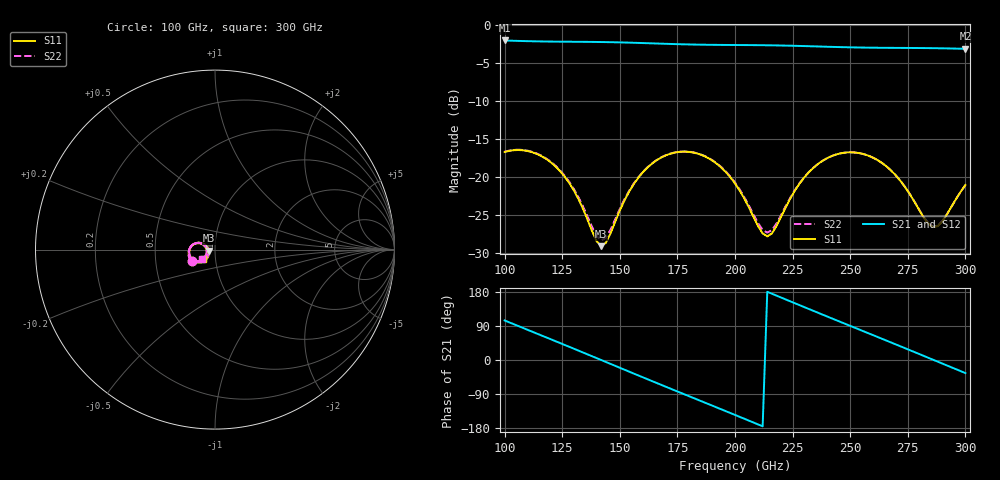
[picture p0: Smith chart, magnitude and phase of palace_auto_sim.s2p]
#  GHZ S DB R 50
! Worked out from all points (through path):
!   101 points, 100 GHz to 300 GHz, reference 50 ohm
!   highest |S21| = -2.01 dB at 100 GHz (marker M1); lowest = -3.1 dB at 300 GHz (marker M2)
!   group delay of S21, straight-line fit = 6.93 ps
!   lowest |S11| = -29.2 dB at 142 GHz (marker M3), VSWR 1.07, Z = 46.7 - j0.532 ohm
!   |S11| at or under -10 dB: start of sweep to end of sweep
!   |S22| runs from -28.4 to -16.4 dB; largest |S21 - S12| = 8.9e-14
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100  -16.73 -153.8  -2.01 104.4  -2.01 104.4  -16.70 -153.3
108  -16.50 -170.2  -2.08 84.6  -2.08 84.6  -16.46 -169.5
116  -17.28 174.1  -2.14 64.8  -2.14 64.8  -17.22 175.0
126  -19.95 157.6  -2.17 39.9  -2.17 39.9  -19.83 158.9
134  -24.21 153.7  -2.19 19.9  -2.19 19.9  -23.91 155.7
142  -29.16 -170.6  -2.22 -0.3  -2.22 -0.3  -28.39 -171.3
154  -21.99 -131.9  -2.29 -30.6  -2.29 -30.6  -21.88 -134.1
168  -17.46 -151.2  -2.43 -65.7  -2.43 -65.7  -17.43 -152.4
176  -16.71 -166.0  -2.50 -85.5  -2.50 -85.5  -16.68 -166.8
184  -16.96 179.2  -2.56 -105.3  -2.56 -105.3  -16.93 178.6
200  -20.87 155.9  -2.61 -144.9  -2.61 -144.9  -20.76 156.0
214  -27.86 -171.1  -2.64 180.0  -2.64 180.0  -27.37 -172.6
224  -22.87 -136.9  -2.70 154.8  -2.70 154.8  -22.76 -139.7
234  -18.82 -144.4  -2.78 129.8  -2.78 129.8  -18.81 -146.5
242  -17.26 -156.9  -2.85 109.9  -2.85 109.9  -17.26 -158.7
250  -16.77 -170.7  -2.91 90.1  -2.91 90.1  -16.77 -172.4
258  -17.22 175.7  -2.96 70.3  -2.96 70.3  -17.23 174.1
268  -19.24 161.5  -2.98 45.6  -2.98 45.6  -19.25 159.9
278  -23.36 158.8  -3.00 20.7  -3.00 20.7  -23.33 157.3
286  -26.64 -174.9  -3.03 0.6  -3.03 0.6  -26.56 -176.9
290  -25.88 -155.6  -3.05 -9.4  -3.05 -9.4  -25.84 -157.9
300  -21.08 -141.9  -3.11 -34.5  -3.11 -34.5  -21.11 -144.3
